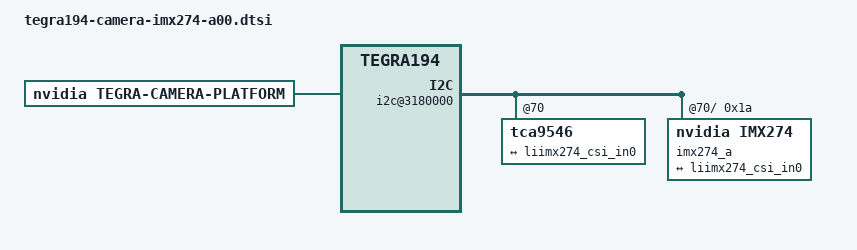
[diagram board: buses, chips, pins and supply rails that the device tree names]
/*
 * Copyright (c) 2017-2019, NVIDIA CORPORATION.  All rights reserved.
 *
 * This program is free software; you can redistribute it and/or modify
 * it under the terms of the GNU General Public License as published by
 * the Free Software Foundation; either version 2 of the License, or
 * (at your option) any later version.
 *
 * This program is distributed in the hope that it will be useful, but WITHOUT
 * ANY WARRANTY; without even the implied warranty of MERCHANTABILITY or
 * FITNESS FOR A PARTICULAR PURPOSE.  See the GNU General Public License for
 * more details.
 *
 * You should have received a copy of the GNU General Public License
 * along with this program.  If not, see <http://www.gnu.org/licenses/>.
 */

/ {
	host1x {
		vi@15c10000 {
			num-channels = <1>;
			ports {
				#address-cells = <1>;
				#size-cells = <0>;
				port@0 {
					reg = <0>;
					liimx274_vi_in0: endpoint {
						port-index = <0>;
						bus-width = <4>;
						remote-endpoint = <&liimx274_csi_out0>;
					};
				};
			};
		};

		nvcsi@15a00000 {
			num-channels = <1>;
			#address-cells = <1>;
			#size-cells = <0>;
			channel@0 {
				reg = <0>;
				ports {
					#address-cells = <1>;
					#size-cells = <0>;
					port@0 {
						reg = <0>;
						liimx274_csi_in0: endpoint@0 {
							port-index = <0>;
							bus-width = <4>;
							remote-endpoint = <&liimx274_imx274_out0>;
						};
					};
					port@1 {
						reg = <1>;
						liimx274_csi_out0: endpoint@1 {
							remote-endpoint = <&liimx274_vi_in0>;
						};
					};
				};
			};
		};
	};

	i2c@3180000 {
		tca9546@70 {
			i2c@0 {
			imx274_a@1a {
				compatible = "nvidia,imx274";
				/* I2C device address */
				reg = <0x1a>;

				/* V4L2 device node location */
				devnode = "video0";

				/* Physical dimensions of sensor */
				physical_w = "3.674";
				physical_h = "2.738";

				sensor_model = "imx274";

				/* Define any required hw resources needed by driver */
				/* ie. clocks, io pins, power sources */
				avdd-reg = "vana";
				iovdd-reg = "vif";

				/* Defines number of frames to be dropped by driver internally after applying */
				/* sensor crop settings. Some sensors send corrupt frames after applying */
				/* crop co-ordinates */
				/*post_crop_frame_drop = "0";*/

				/* if true, delay gain setting by one frame to be in sync with exposure */
				delayed_gain = "true";

				has-eeprom;
				fuse_id_start_addr = <91>;

				/**
				* ==== Modes ====
				* A modeX node is required to support v4l2 driver
				* implementation with NVIDIA camera software stack
				*
				* == Signal properties ==
				*
				* phy_mode = "";
				* PHY mode used by the MIPI lanes for this device
				*
				* tegra_sinterface = "";
				* CSI Serial interface connected to tegra
				* Incase of virtual HW devices, use virtual
				* For SW emulated devices, use host
				*
				* pix_clk_hz = "";
				* Sensor pixel clock used for calculations like exposure and framerate
				*
				* readout_orientation = "0";
				* Based on camera module orientation.
				* Only change readout_orientation if you specifically
				* Program a different readout order for this mode
				*
				* == Image format Properties ==
				*
				* active_w = "";
				* Pixel active region width
				*
				* active_h = "";
				* Pixel active region height
				*
				* pixel_t = "";
				* The sensor readout pixel pattern
				*
				* line_length = "";
				* Pixel line length (width) for sensor mode.
				*
				* == Source Control Settings ==
				*
				* Gain factor used to convert fixed point integer to float
				* Gain range [min_gain/gain_factor, max_gain/gain_factor]
				* Gain step [step_gain/gain_factor is the smallest step that can be configured]
				* Default gain [Default gain to be initialized for the control.
                                       *     use min_gain_val as default for optimal results]
				* Framerate factor used to convert fixed point integer to float
				* Framerate range [min_framerate/framerate_factor, max_framerate/framerate_factor]
				* Framerate step [step_framerate/framerate_factor is the smallest step that can be configured]
				* Default Framerate [Default framerate to be initialized for the control.
                                       *     use max_framerate to get required performance]
				* Exposure factor used to convert fixed point integer to float
				* For convenience use 1 sec = 1000000us as conversion factor
				* Exposure range [min_exp_time/exposure_factor, max_exp_time/exposure_factor]
				* Exposure step [step_exp_time/exposure_factor is the smallest step that can be configured]
				* Default Exposure Time [Default exposure to be initialized for the control.
                                       *     Set default exposure based on the default_framerate for optimal exposure settings]
				* For convenience use 1 sec = 1000000us as conversion factor
				*
				* gain_factor = ""; (integer factor used for floating to fixed point conversion)
				* min_gain_val = ""; (ceil to integer)
				* max_gain_val = ""; (ceil to integer)
				* step_gain_val = ""; (ceil to integer)
				* default_gain = ""; (ceil to integer)
				* Gain limits for mode
				*
				* exposure_factor = ""; (integer factor used for floating to fixed point conversion)
				* min_exp_time = ""; (ceil to integer)
				* max_exp_time = ""; (ceil to integer)
				* step_exp_time = ""; (ceil to integer)
				* default_exp_time = ""; (ceil to integer)
				* Exposure Time limits for mode (sec)
				*
				* framerate_factor = ""; (integer factor used for floating to fixed point conversion)
				* min_framerate = ""; (ceil to integer)
				* max_framerate = ""; (ceil to integer)
				* step_framerate = ""; (ceil to integer)
				* default_framerate = ""; (ceil to integer)
				* Framerate limits for mode (fps)
				*
				* embedded_metadata_height = "";
				* Sensor embedded metadata height in units of rows.
				* If sensor does not support embedded metadata value should be 0.

				* num_of_exposure = "";
				* Digital overlap(Dol) frames
				*
				* num_of_ignored_lines = "";
				* Used for cropping, eg. OB lines + Ignored area of effective pixel lines
				*
				* num_of_lines_offset_0 = "";
				* Used for cropping, vertical blanking in front of short exposure data
				* If more Dol frames are used, it can be extended, eg. num_of_lines_offset_1
				*
				* num_of_ignored_pixels = "";
				* Used for cropping, The length of line info(pixels)
				*
				* num_of_left_margin_pixels = "";
				* Used for cropping, the size of the left edge margin before
				* the active pixel area (after ignored pixels)
				*
				* num_of_right_margin_pixels = "";
				* Used for cropping, the size of the right edge margin after
				* the active pixel area
				*
				*/
				mode0 { // IMX274_MODE_3840X2160
					mclk_khz = "24000";
					num_lanes = "4";
					tegra_sinterface = "serial_a";
					phy_mode = "DPHY";
					discontinuous_clk = "yes";
					dpcm_enable = "false";
					cil_settletime = "0";

					active_w = "3840";
					active_h = "2160";
					mode_type = "bayer";
					pixel_phase = "rggb";
					csi_pixel_bit_depth = "10";
					readout_orientation = "0";
					line_length = "4208";
					inherent_gain = "1";
					mclk_multiplier = "24";
					pix_clk_hz = "576000000";

					gain_factor = "1000000";
					min_gain_val = "1000000";
					max_gain_val = "44400000";
					step_gain_val = "1";
					default_gain = "1000000";
					min_hdr_ratio = "1";
					max_hdr_ratio = "1";
					framerate_factor = "1000000";
					min_framerate = "1500000";
					max_framerate = "60000000";
					step_framerate = "1";
					default_framerate= "60000000";
					exposure_factor = "1000000";
					min_exp_time = "44";
					max_exp_time = "478696";
					step_exp_time = "1";
					default_exp_time = "16667";/* us */
					embedded_metadata_height = "1";
				};
				mode1 { // IMX274_MODE_1920X1080
					mclk_khz = "24000";
					num_lanes = "4";
					tegra_sinterface = "serial_a";
					phy_mode = "DPHY";
					discontinuous_clk = "yes";
					dpcm_enable = "false";
					cil_settletime = "0";
					dynamic_pixel_bit_depth = "10";
					csi_pixel_bit_depth = "10";
					mode_type = "bayer";
					pixel_phase = "rggb";

					active_w = "1920";
					active_h = "1080";
					readout_orientation = "0";
					line_length = "4160";
					inherent_gain = "1";
					mclk_multiplier = "24";
					pix_clk_hz = "576000000";

					gain_factor = "1000000";
					min_gain_val = "1000000";
					max_gain_val = "177000000";
					step_gain_val = "1";
					default_gain = "1000000";
					min_hdr_ratio = "1";
					max_hdr_ratio = "1";
					framerate_factor = "1000000";
					min_framerate = "1500000";
					max_framerate = "60000000";
					step_framerate = "1";
					default_framerate= "60000000";
					exposure_factor = "1000000";
					min_exp_time = "58";
					max_exp_time = "184611";
					step_exp_time = "1";
					default_exp_time = "16667";/* us */
					embedded_metadata_height = "1";
				};
				mode2 { // IMX274_MODE_3840X2160_DOL_30FPS
					mclk_khz = "24000";
					num_lanes = "4";
					tegra_sinterface = "serial_a";
					phy_mode = "DPHY";
					discontinuous_clk = "yes";
					dpcm_enable = "false";
					cil_settletime = "0";
					dynamic_pixel_bit_depth = "10";
					csi_pixel_bit_depth = "10";
					mode_type = "bayer_wdr_dol";
					pixel_phase = "rggb";

					active_w = "3856";
					active_h = "4448";
					readout_orientation = "0";
					line_length = "4208";
					inherent_gain = "1";
					mclk_multiplier = "24";
					pix_clk_hz = "576000000";

					gain_factor = "1000000";
					min_gain_val = "1000000";
					max_gain_val = "30000000";
					step_gain_val = "1";
					default_gain = "1000000";
					min_hdr_ratio = "32";
					max_hdr_ratio = "32";
					framerate_factor = "1000000";
					min_framerate = "1500000";
					max_framerate = "30000000";
					step_framerate = "1";
					default_framerate= "30000000";
					exposure_factor = "1000000";
					min_exp_time = "864";
					max_exp_time = "20480";
					step_exp_time = "1";
					default_exp_time = "20480";/* us */
					embedded_metadata_height = "1";

					num_of_exposure = "2";
					num_of_ignored_lines = "14";
					num_of_lines_offset_0 = "50";
					num_of_ignored_pixels = "4";
					num_of_left_margin_pixels = "12";
					num_of_right_margin_pixels = "0";
				};
				mode3 { // IMX274_MODE_1920X1080_DOL_60FPS
					mclk_khz = "24000";
					num_lanes = "4";
					tegra_sinterface = "serial_a";
					phy_mode = "DPHY";
					discontinuous_clk = "yes";
					dpcm_enable = "false";
					cil_settletime = "0";
					dynamic_pixel_bit_depth = "10";
					csi_pixel_bit_depth = "10";
					mode_type = "bayer_wdr_dol";
					pixel_phase = "rggb";

					active_w = "1936";
					active_h = "2264";
					readout_orientation = "0";
					line_length = "4160";
					inherent_gain = "1";
					mclk_multiplier = "24";
					pix_clk_hz = "576000000";

					gain_factor = "1000000";
					min_gain_val = "1000000";
					max_gain_val = "177000000";
					step_gain_val = "1";
					default_gain = "1000000";
					min_hdr_ratio = "32";
					max_hdr_ratio = "32";
					framerate_factor = "1000000";
					min_framerate = "1500000";
					max_framerate = "60000000";
					step_framerate = "1";
					default_framerate= "60000000";
					exposure_factor = "1000000";
					min_exp_time = "859";
					max_exp_time = "15649";
					step_exp_time = "1";
					default_exp_time = "15649";/* us */
					embedded_metadata_height = "1";

					/* WDR related settings */
					num_of_exposure = "2";
					num_of_ignored_lines = "14";
					num_of_lines_offset_0 = "38";
					num_of_ignored_pixels = "4";
					num_of_left_margin_pixels = "6";
					num_of_right_margin_pixels = "6";
				};
				ports {
					#address-cells = <1>;
					#size-cells = <0>;
					port@0 {
						reg = <0>;
						liimx274_imx274_out0: endpoint {
							port-index = <0>;
							bus-width = <4>;
							remote-endpoint = <&liimx274_csi_in0>;
							};
						};
					};
				};
			};
		};
	};
	lens_imx274@A6V26 {
		min_focus_distance = "0.0";
		hyper_focal = "0.0";
		focal_length = "5.00";
		f_number = "2.0";
		aperture = "2.2";
	};
};



/ {

	tegra-camera-platform {
		compatible = "nvidia, tegra-camera-platform";
		/**
		* Physical settings to calculate max ISO BW
		*
		* num_csi_lanes = <>;
		* Total number of CSI lanes when all cameras are active
		*
		* max_lane_speed = <>;
		* Max lane speed in Kbit/s
		*
		* min_bits_per_pixel = <>;
		* Min bits per pixel
		*
		* vi_peak_byte_per_pixel = <>;
		* Max byte per pixel for the VI ISO case
		*
		* vi_bw_margin_pct = <>;
		* Vi bandwidth margin in percentage
		*
		* max_pixel_rate = <>;
		* Max pixel rate in Kpixel/s for the ISP ISO case
		*
		* isp_peak_byte_per_pixel = <>;
		* Max byte per pixel for the ISP ISO case
		*
		* isp_bw_margin_pct = <>;
		* Isp bandwidth margin in percentage
		*/
		num_csi_lanes = <8>;
		max_lane_speed = <1500000>;
		min_bits_per_pixel = <10>;
		vi_peak_byte_per_pixel = <2>;
		vi_bw_margin_pct = <25>;
		max_pixel_rate = <750000>;
		isp_peak_byte_per_pixel = <5>;
		isp_bw_margin_pct = <25>;

		/**
		 * The general guideline for naming badge_info contains 3 parts, and is as follows,
		 * The first part is the camera_board_id for the module; if the module is in a FFD
		 * platform, then use the platform name for this part.
		 * The second part contains the position of the module, ex. "rear" or "front".
		 * The third part contains the last 6 characters of a part number which is found
		 * in the module's specsheet from the vender.
		 */
		modules {
			module0 {
				badge = "imx274_bottom_A6V26";
				position = "bottom";
				orientation = "1";
				drivernode0 {
					/* Declare PCL support driver (classically known as guid)  */
					pcl_id = "v4l2_sensor";
					/* Driver v4l2 device name */
					devname = "imx274 30-001a";
					/* Declare the device-tree hierarchy to driver instance */
					proc-device-tree = "/proc/device-tree/i2c@3180000/tca9546@70/i2c@0/imx274_a@1a";
				};
				drivernode1 {
					/* Declare PCL support driver (classically known as guid)  */
					pcl_id = "v4l2_lens";
					proc-device-tree = "/proc/device-tree/lens_imx274@A6V26/";
				};
			};
		};
	};
};
